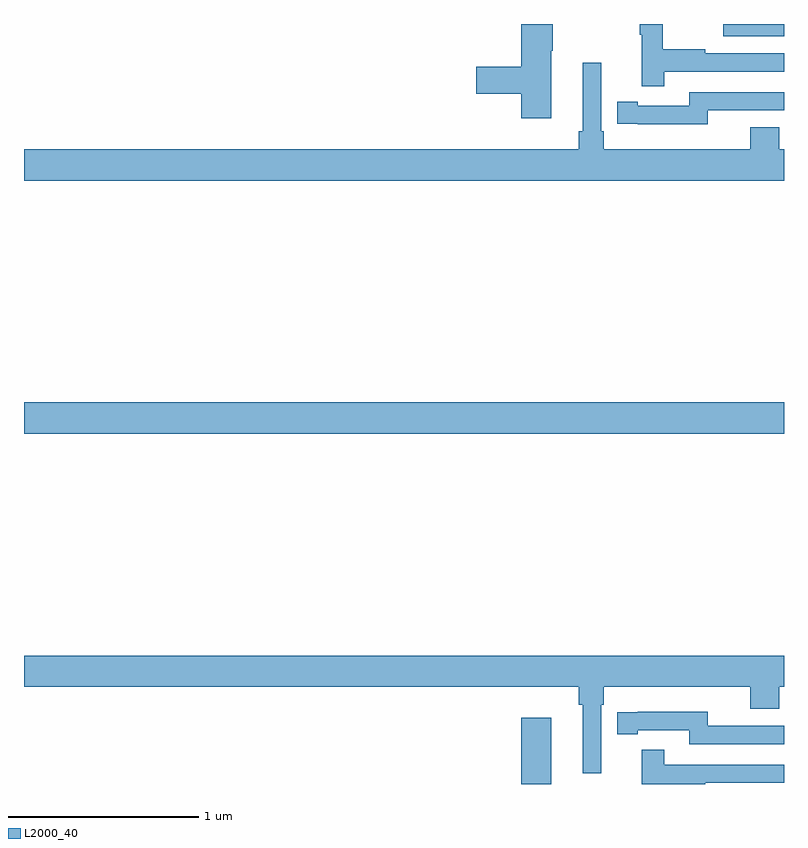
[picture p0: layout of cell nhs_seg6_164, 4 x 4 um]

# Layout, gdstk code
import gdstk
lib = gdstk.Library(unit=1e-6, precision=1e-09)
def R(c, l, rs):  # rectangles x0, y0, x1, y1
    for r in rs: c.add(gdstk.rectangle(r[:2], r[2:], *l))
def P(c, l, *ps):  # polygons
    for p in ps: c.add(gdstk.Polygon(p, *l))
L2000_40 = (2000, 40)

nhs_seg6_164 = lib.new_cell('nhs_seg6_164')
R(nhs_seg6_164, L2000_40, [(121.616,937.5,121.774,937.849), (119,939.344,123,939.508), (122.681,941.435,123,941.5)])
P(nhs_seg6_164, L2000_40, [(121.774,941.359),(121.782,941.359),(121.782,941.5),(121.616,941.5),(121.616,941.276),(121.38,941.276),(121.38,941.134),(121.616,941.134),(121.616,941.004),(121.774,941.004)],
  [(122.369,941.25),(123,941.25),(123,941.346),(122.585,941.346),(122.585,941.366),(122.362,941.366),(122.362,941.5),(122.241,941.5),(122.241,941.443),(122.252,941.443),(122.252,941.172),(122.369,941.172)],
  [(123,940.84),(122.975,940.84),(122.975,940.957),(122.822,940.957),(122.822,940.84),(122.051,940.84),(122.051,940.936),(122.037,940.936),(122.037,941.296),(121.94,941.296),(121.94,940.936),(121.921,940.936),(121.921,940.84),(119,940.84),(119,940.676),(123,940.676)],
  [(122.598,941.046),(123,941.046),(123,941.142),(122.502,941.142),(122.502,941.07),(122.23,941.07),(122.23,941.09),(122.122,941.09),(122.122,940.974),(122.23,940.974),(122.23,940.973),(122.598,940.973)],
  [(122.037,937.916),(122.051,937.916),(122.051,938.012),(122.822,938.012),(122.822,937.895),(122.975,937.895),(122.975,938.012),(123,938.012),(123,938.176),(119,938.176),(119,938.012),(121.921,938.012),(121.921,937.916),(121.94,937.916),(121.94,937.557),(122.037,937.557)],
  [(123,937.806),(122.598,937.806),(122.598,937.879),(122.23,937.879),(122.23,937.878),(122.122,937.878),(122.122,937.762),(122.23,937.762),(122.23,937.782),(122.502,937.782),(122.502,937.71),(123,937.71)],
  [(122.585,937.506),(123,937.506),(123,937.602),(122.369,937.602),(122.369,937.681),(122.252,937.681),(122.252,937.5),(122.585,937.5)])

lib.write_gds('nhs_seg6_164.gds')
